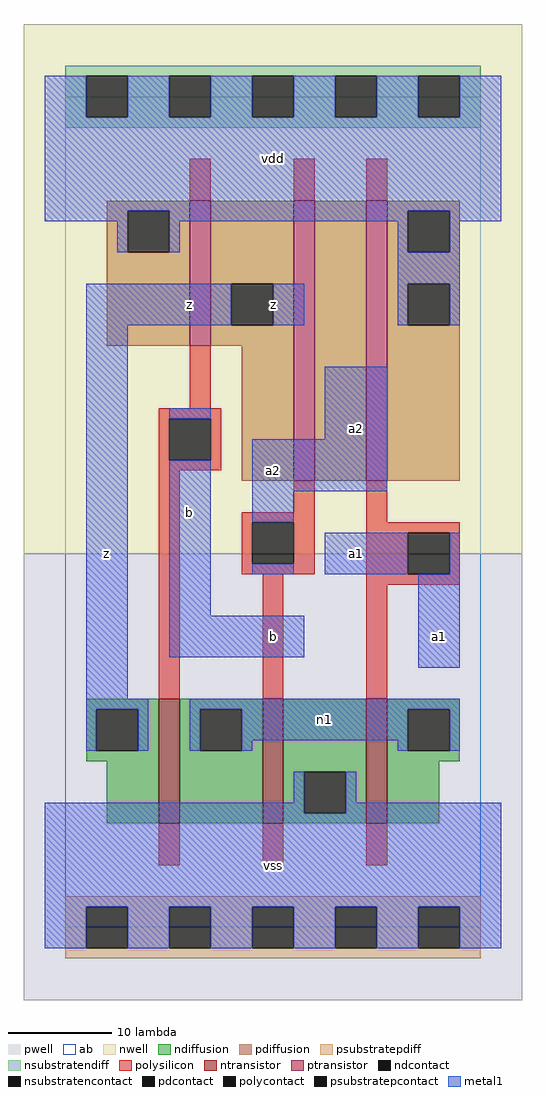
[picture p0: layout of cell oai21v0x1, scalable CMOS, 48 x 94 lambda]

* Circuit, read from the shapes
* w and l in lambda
.subckt oai21v0x1 a1 a2 b n1 vdd vss z
M1 n1 b z vss nfet w=12 l=2
M2 vss a2 n1 vss nfet w=12 l=2
M3 n1 a1 vss vss nfet w=12 l=2
M4 z b vdd vdd pfet w=14 l=2
M5 n2 a2 z vdd pfet w=27 l=2
M6 vdd a1 n2 vdd pfet w=27 l=2
.ends

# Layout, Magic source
magic
tech scmos
<< ab >>
rect 0 0 40 80
<< pwell >>
rect -4 -7 44 36
<< nwell >>
rect -4 36 44 87
<< polysilicon >>
rect 12 70 14 74
rect 22 70 24 74
rect 29 70 31 74
rect 12 50 14 56
rect 9 49 15 50
rect 9 45 10 49
rect 14 45 15 49
rect 9 44 15 45
rect 9 22 11 44
rect 22 40 24 43
rect 17 39 24 40
rect 17 35 18 39
rect 22 35 24 39
rect 17 34 24 35
rect 29 39 31 43
rect 29 38 38 39
rect 29 34 33 38
rect 37 34 38 38
rect 19 22 21 34
rect 29 33 38 34
rect 29 22 31 33
rect 9 6 11 10
rect 19 6 21 10
rect 29 6 31 10
<< ndiffusion >>
rect 2 21 9 22
rect 2 17 3 21
rect 7 17 9 21
rect 2 16 9 17
rect 4 10 9 16
rect 11 21 19 22
rect 11 17 13 21
rect 17 17 19 21
rect 11 10 19 17
rect 21 15 29 22
rect 21 11 23 15
rect 27 11 29 15
rect 21 10 29 11
rect 31 21 38 22
rect 31 17 33 21
rect 37 17 38 21
rect 31 16 38 17
rect 31 10 36 16
<< pdiffusion >>
rect 4 69 12 70
rect 4 65 6 69
rect 10 65 12 69
rect 4 56 12 65
rect 14 62 22 70
rect 14 58 16 62
rect 20 58 22 62
rect 14 56 22 58
rect 17 43 22 56
rect 24 43 29 70
rect 31 69 38 70
rect 31 65 33 69
rect 37 65 38 69
rect 31 62 38 65
rect 31 58 33 62
rect 37 58 38 62
rect 31 43 38 58
<< metal1 >>
rect -2 78 2 82
rect 6 78 10 82
rect 14 78 18 82
rect 22 78 26 82
rect 30 78 34 82
rect 38 78 42 82
rect -2 69 42 78
rect -2 68 6 69
rect 5 65 6 68
rect 10 68 33 69
rect 10 65 11 68
rect 32 65 33 68
rect 37 68 42 69
rect 37 65 38 68
rect 32 62 38 65
rect 2 58 16 62
rect 20 58 23 62
rect 32 58 33 62
rect 37 58 38 62
rect 2 22 6 58
rect 10 49 14 50
rect 25 47 31 54
rect 10 30 14 45
rect 18 42 31 47
rect 18 39 22 42
rect 18 34 22 35
rect 25 34 33 38
rect 37 34 38 38
rect 10 26 23 30
rect 34 25 38 34
rect 2 21 8 22
rect 2 17 3 21
rect 7 17 8 21
rect 12 21 38 22
rect 12 17 13 21
rect 17 18 33 21
rect 17 17 18 18
rect 32 17 33 18
rect 37 17 38 21
rect 22 12 23 15
rect -2 11 23 12
rect 27 12 28 15
rect 27 11 42 12
rect -2 2 42 11
rect -2 -2 2 2
rect 6 -2 10 2
rect 14 -2 18 2
rect 22 -2 26 2
rect 30 -2 34 2
rect 38 -2 42 2
<< ntransistor >>
rect 9 10 11 22
rect 19 10 21 22
rect 29 10 31 22
<< ptransistor >>
rect 12 56 14 70
rect 22 43 24 70
rect 29 43 31 70
<< polycontact >>
rect 10 45 14 49
rect 18 35 22 39
rect 33 34 37 38
<< ndcontact >>
rect 3 17 7 21
rect 13 17 17 21
rect 23 11 27 15
rect 33 17 37 21
<< pdcontact >>
rect 6 65 10 69
rect 16 58 20 62
rect 33 65 37 69
rect 33 58 37 62
<< psubstratepcontact >>
rect 2 -2 6 2
rect 10 -2 14 2
rect 18 -2 22 2
rect 26 -2 30 2
rect 34 -2 38 2
<< nsubstratencontact >>
rect 2 78 6 82
rect 10 78 14 82
rect 18 78 22 82
rect 26 78 30 82
rect 34 78 38 82
<< psubstratepdiff >>
rect 0 2 40 3
rect 0 -2 2 2
rect 6 -2 10 2
rect 14 -2 18 2
rect 22 -2 26 2
rect 30 -2 34 2
rect 38 -2 40 2
rect 0 -3 40 -2
<< nsubstratendiff >>
rect 0 82 40 83
rect 0 78 2 82
rect 6 78 10 82
rect 14 78 18 82
rect 22 78 26 82
rect 30 78 34 82
rect 38 78 40 82
rect 0 77 40 78
<< labels >>
rlabel metal1 4 36 4 36 6 z
rlabel metal1 12 40 12 40 6 b
rlabel metal1 12 60 12 60 6 z
rlabel metal1 20 6 20 6 6 vss
rlabel metal1 20 28 20 28 6 b
rlabel metal1 28 36 28 36 6 a1
rlabel metal1 20 44 20 44 6 a2
rlabel metal1 28 48 28 48 6 a2
rlabel metal1 20 60 20 60 6 z
rlabel metal1 20 74 20 74 6 vdd
rlabel metal1 25 20 25 20 6 n1
rlabel metal1 36 28 36 28 6 a1
<< end >>
